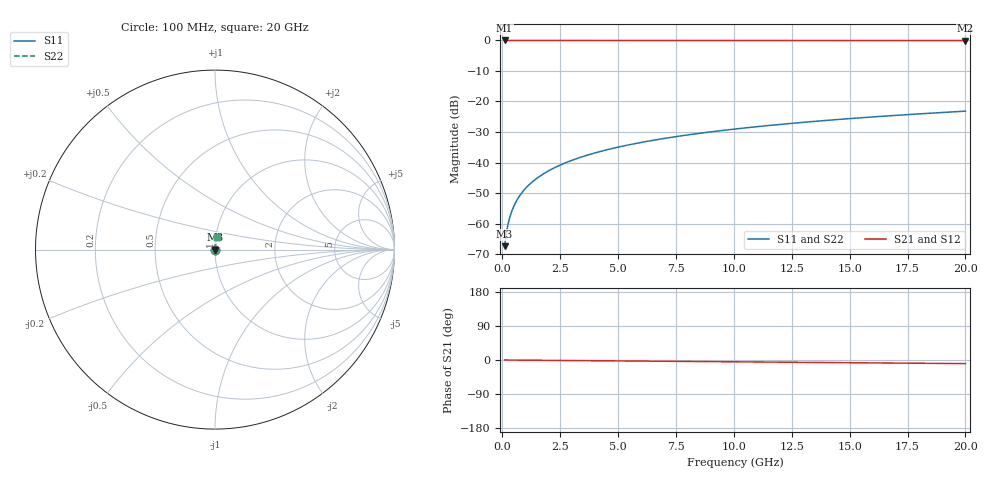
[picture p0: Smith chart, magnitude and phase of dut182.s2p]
! Touchstone file exported from HFSS 2026.1.0
!  File:  C:/ffzhzh/LocalFiles/Ansys_Project_Files/temp_train_TSV_182_1782991283_42984.aedt
!  Generated:  07:23:01 PM Jul  2, 2026
!  Design:  TSV
!  Project:  temp_train_TSV_182_1782991283_42984
! Variables:
!  h_bsmrdl = 2um
!  h_ox = 20um
!  h_rdl = 5um
!  h_sub = 80.92um
!  h_tmrdl = 5um
!  h_tsv = 80.92um
!  h_via = 3um
!  l_bsmrdl = 300um
!  l_sub = 416.34um
!  l_tmrdl = 200um
!  m_sub = 200um
!  pitch = 59.77um
!  r_tsv = 8.17um
!  s_tmrdl = 10um
!  w_bsmrdl = 18um
!  w_sub = 500um
!  w_tmrdl = 12um
!  x_tsv_center1 = 206um
!  x_tsv_center2 = 524um
!  x_tsv_center3 = 736um
!  x_tsv_center4 = 1054um
!  x_tsv_center5 = 1266um
!  x_tsv_center6 = 1584um
# GHz S MA R 50.000000
! Terminal data exported
! Port[1] = TSV1_1_T1
! Port[2] = TSV1_1_T2
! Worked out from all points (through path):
!   200 points, 100 MHz to 20 GHz, reference 50 ohm
!   highest |S21| = 0.00 dB at 100 MHz (marker M1); lowest = 0.0 dB at 20 GHz (marker M2)
!   group delay of S21, straight-line fit = 1.32 ps
!   lowest |S11| = -67.4 dB at 100 MHz (marker M3), VSWR 1.00, Z = 50 + j0.0391 ohm
!   |S11| at or under -10 dB: start of sweep to end of sweep
!   |S22| runs from -67.4 to -23.2 dB; largest |S21 - S12| = 2.3e-15
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0.1  0.0004267 66.2  0.9998 -0.0  0.9998 -0.0  0.0004267 66.2
! Gamma 0 0 0 0
! Port Impedance 50 0 50 0
0.2  0.0008001 76.8  0.9998 -0.1  0.9998 -0.1  0.0008001 76.8
0.3  0.001181 80.3  0.9998 -0.1  0.9998 -0.1  0.001181 80.3
0.4  0.001561 81.9  0.9998 -0.2  0.9998 -0.2  0.001561 81.9
0.5  0.001937 82.8  0.9998 -0.2  0.9998 -0.2  0.001937 82.8
0.6  0.002309 83.3  0.9997 -0.3  0.9997 -0.3  0.002309 83.3
0.7  0.002677 83.7  0.9997 -0.3  0.9997 -0.3  0.002677 83.7
0.8  0.003042 84.0  0.9997 -0.4  0.9997 -0.4  0.003042 84.0
1  0.003764 84.4  0.9997 -0.5  0.9997 -0.5  0.003764 84.4
1.4  0.005192 84.9  0.9996 -0.7  0.9996 -0.7  0.005192 84.9
1.7  0.006256 85.2  0.9995 -0.8  0.9995 -0.8  0.006256 85.2
2  0.007318 85.4  0.9995 -1.0  0.9995 -1.0  0.007318 85.4
2.7  0.009793 85.6  0.9994 -1.3  0.9994 -1.3  0.009793 85.6
3.5  0.01261 85.6  0.9993 -1.7  0.9993 -1.7  0.01261 85.6
4.2  0.01508 85.5  0.9992 -2.0  0.9992 -2.0  0.01508 85.5
5  0.01788 85.3  0.9991 -2.4  0.9991 -2.4  0.01788 85.3
6.8  0.02416 84.7  0.9989 -3.3  0.9989 -3.3  0.02416 84.7
8.3  0.02937 84.2  0.9986 -4.0  0.9986 -4.0  0.02937 84.2
10.1  0.0356 83.5  0.9983 -4.8  0.9983 -4.8  0.0356 83.5
13.4  0.04697 82.2  0.9977 -6.4  0.9977 -6.4  0.04697 82.2
16.7  0.05825 80.8  0.997 -8.0  0.997 -8.0  0.05825 80.8
20  0.06944 79.3  0.9961 -9.5  0.9961 -9.5  0.06944 79.3
